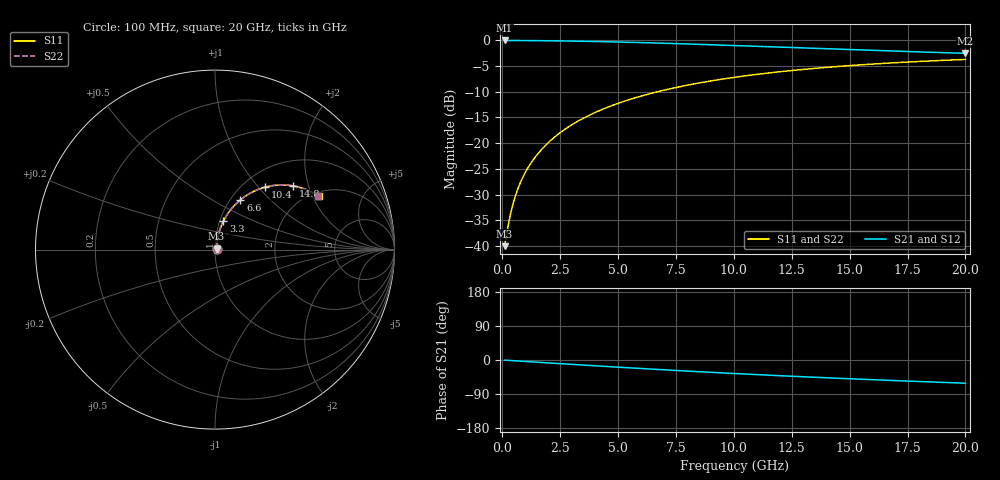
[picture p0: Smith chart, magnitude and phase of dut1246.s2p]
! Touchstone file exported from HFSS 2026.1.0
!  File:  C:/ffzhzh/LocalFiles/Ansys_Project_Files/temp_train_BSMRDL_1246_1783177260_43440.aedt
!  Generated:  11:02:24 PM Jul  4, 2026
!  Design:  BSMRDL
!  Project:  temp_train_BSMRDL_1246_1783177260_43440
! Variables:
!  h_bsmrdl = 3.34um
!  h_ox = 20um
!  h_rdl = 5um
!  h_sub = 80um
!  h_tmrdl = 5um
!  h_tsv = 80um
!  h_via = 3um
!  l_bsmrdl = 873.35um
!  l_sub = 1273.35um
!  l_tmrdl = 200um
!  m_sub = 200um
!  pitch = 52.16um
!  r_tsv = 6um
!  s_tmrdl = 10um
!  w_bsmrdl = 10.77um
!  w_sub = 500um
!  w_tmrdl = 12um
!  x_tsv_center1 = 206um
!  x_tsv_center2 = 1090.12um
!  x_tsv_center3 = 1302.12um
!  x_tsv_center4 = 2186.24um
!  x_tsv_center5 = 2398.24um
!  x_tsv_center6 = 3282.36um
# GHz S MA R 50.000000
! Terminal data exported
! Port[1] = BSM_RDL1_1_T1
! Port[2] = BSM_RDL1_1_T2
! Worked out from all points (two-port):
!   200 points, 100 MHz to 20 GHz, reference 50 ohm
!   highest |S21| = -0.07 dB at 100 MHz (marker M1); lowest = -2.6 dB at 20 GHz (marker M2)
!   |S21| within 3 dB of the highest: start of sweep to end of sweep
!   lowest |S11| = -40.0 dB at 100 MHz (marker M3), VSWR 1.02, Z = 50.9 + j0.53 ohm
!   |S11| at or under -10 dB: start of sweep to 6.726 GHz
!   |S22| runs from -40.0 to -3.8 dB; largest |S21 - S12| = 2.7e-15
!   S11 on the Smith chart (normalised r, x): 100 MHz: 1.02, +0.01; 3.3 GHz: 1.04, +0.34; 6.6 GHz: 1.11, +0.68; 10.4 GHz: 1.25, +1.09; 14.8 GHz: 1.54, +1.59; 20 GHz: 2.16, +2.22
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0.1  0.01 31.4  0.9915 -0.4  0.9915 -0.4  0.01 31.4
! Gamma 0 0 0 0
! Port Impedance 50 0 50 0
0.3  0.01797 59.9  0.9912 -1.2  0.9912 -1.2  0.01797 59.9
0.4  0.0227 65.6  0.991 -1.6  0.991 -1.6  0.0227 65.6
0.5  0.02755 69.1  0.9907 -2.0  0.9907 -2.0  0.02755 69.1
0.6  0.03246 71.4  0.9905 -2.4  0.9905 -2.4  0.03246 71.4
0.8  0.04234 74.2  0.9899 -3.1  0.9899 -3.1  0.04234 74.2
1.1  0.05722 76.1  0.9889 -4.3  0.9889 -4.3  0.05722 76.1
1.5  0.07707 76.8  0.9873 -5.8  0.9873 -5.8  0.07707 76.8
2  0.1018 76.5  0.9848 -7.8  0.9848 -7.8  0.1018 76.6
2.6  0.1312 75.4  0.981 -10.1  0.981 -10.1  0.1312 75.4
3.3  0.1649 73.5  0.9755 -12.7  0.9755 -12.7  0.1649 73.5
3.5  0.1744 72.9  0.9738 -13.4  0.9738 -13.4  0.1744 73.0
4.9  0.2388 68.5  0.9592 -18.6  0.9592 -18.6  0.2388 68.6
6.6  0.3112 63.0  0.9372 -24.6  0.9372 -24.6  0.3112 63.0
6.8  0.3192 62.3  0.9344 -25.3  0.9344 -25.3  0.3192 62.4
8.3  0.3764 57.5  0.9122 -30.3  0.9122 -30.3  0.3764 57.6
10.1  0.4375 52.0  0.8839 -35.9  0.8839 -35.9  0.4375 52.1
10.4  0.4469 51.1  0.8791 -36.8  0.8791 -36.8  0.4469 51.2
13.4  0.5293 42.8  0.8319 -45.4  0.8319 -45.4  0.5293 42.9
14.8  0.5611 39.2  0.811 -49.0  0.811 -49.0  0.5611 39.3
16.7  0.5983 34.6  0.7843 -53.7  0.7843 -53.7  0.5983 34.7
20  0.649 27.3  0.744 -61.2  0.744 -61.2  0.649 27.4
